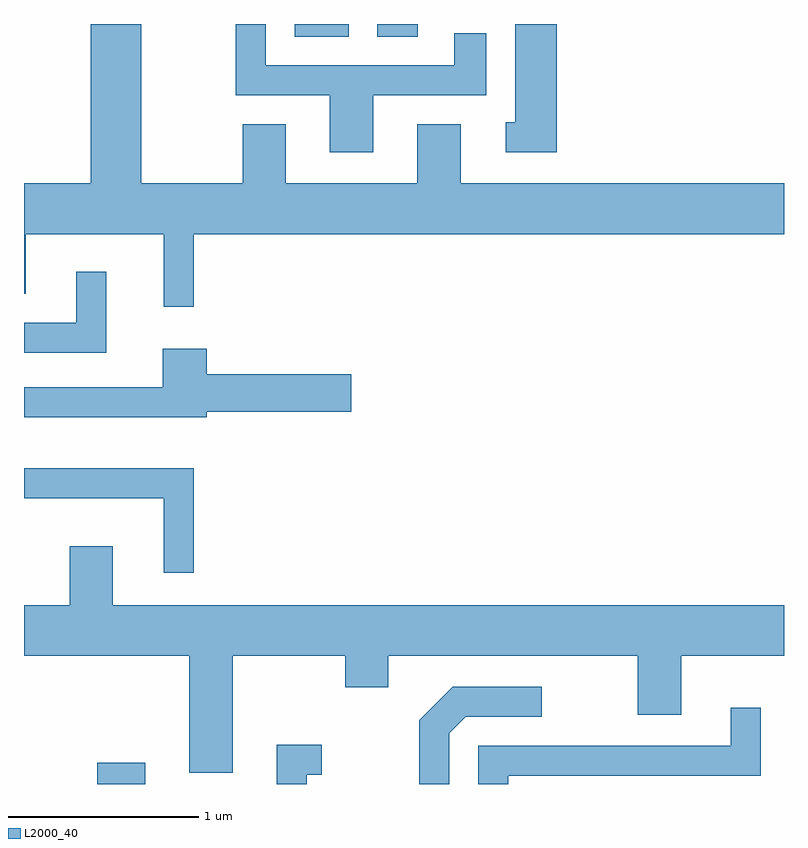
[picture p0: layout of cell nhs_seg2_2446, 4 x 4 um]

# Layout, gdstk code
import gdstk
lib = gdstk.Library(unit=1e-6, precision=1e-09)
def R(c, l, rs):  # rectangles x0, y0, x1, y1
    for r in rs: c.add(gdstk.rectangle(r[:2], r[2:], *l))
def P(c, l, *ps):  # polygons
    for p in ps: c.add(gdstk.Polygon(p, *l))
L2000_40 = (2000, 40)

nhs_seg2_2446 = lib.new_cell('nhs_seg2_2446')
R(nhs_seg2_2446, L2000_40, [(255.996,1109.802,256.249,1109.914), (257.036,1113.736,257.319,1113.802), (257.471,1113.736,257.684,1113.802)])
P(nhs_seg2_2446, L2000_40, [(257.449,1113.426),(258.044,1113.426),(258.044,1113.753),(257.876,1113.753),(257.876,1113.584),(256.884,1113.584),(256.884,1113.802),(256.726,1113.802),(256.726,1113.426),(257.221,1113.426),(257.221,1113.126),(257.449,1113.126)],
  [(256.504,1112.696),(259.611,1112.696),(259.611,1112.964),(257.909,1112.964),(257.909,1113.274),(257.681,1113.274),(257.681,1112.964),(256.989,1112.964),(256.989,1113.274),(256.761,1113.274),(256.761,1112.964),(256.229,1112.964),(256.229,1113.802),(255.961,1113.802),(255.961,1112.964),(255.611,1112.964),(255.611,1112.381),(255.619,1112.381),(255.619,1112.696),(256.346,1112.696),(256.346,1112.313),(256.504,1112.313)],
  [(258.414,1113.802),(258.196,1113.802),(258.196,1113.284),(258.147,1113.284),(258.147,1113.126),(258.414,1113.126)],
  [(256.044,1112.498),(255.886,1112.498),(255.886,1112.229),(255.611,1112.229),(255.611,1112.071),(256.044,1112.071)],
  [(256.574,1111.761),(257.334,1111.761),(257.334,1111.959),(256.574,1111.959),(256.574,1112.094),(256.341,1112.094),(256.341,1111.889),(255.611,1111.889),(255.611,1111.731),(256.574,1111.731)],
  [(256.504,1111.464),(255.611,1111.464),(255.611,1111.306),(256.346,1111.306),(256.346,1110.913),(256.504,1110.913)],
  [(256.709,1110.476),(257.301,1110.476),(257.301,1110.311),(257.529,1110.311),(257.529,1110.476),(258.841,1110.476),(258.841,1110.166),(259.069,1110.166),(259.069,1110.476),(259.611,1110.476),(259.611,1110.744),(256.079,1110.744),(256.079,1111.054),(255.851,1111.054),(255.851,1110.744),(255.611,1110.744),(255.611,1110.476),(256.481,1110.476),(256.481,1109.861),(256.709,1109.861)],
  [(257.849,1110.069),(257.937,1110.156),(258.337,1110.156),(258.337,1110.314),(257.868,1110.314),(257.691,1110.137),(257.691,1109.802),(257.849,1109.802)],
  [(258.159,1109.846),(259.489,1109.846),(259.489,1110.203),(259.331,1110.203),(259.331,1110.004),(258.001,1110.004),(258.001,1109.802),(258.159,1109.802)],
  [(257.099,1109.851),(257.178,1109.851),(257.178,1110.009),(256.941,1110.009),(256.941,1109.802),(257.099,1109.802)])

lib.write_gds('nhs_seg2_2446.gds')
